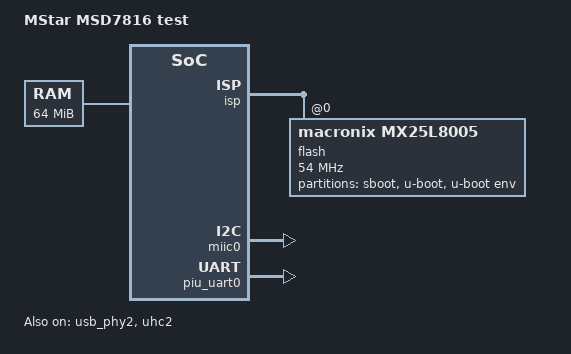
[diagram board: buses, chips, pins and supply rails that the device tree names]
// SPDX-License-Identifier: GPL-2.0
/dts-v1/;

#include "kronus-msd7816.dtsi"

/ {
	compatible = "mstar,msd7816", "mstar,kronus";
	model = "MStar MSD7816 test";

	aliases {
		serial0 = &piu_uart0;
	};

	chosen {
		bootargs = "console=ttyS0,115200 root=/dev/sda2 rootwait clk_ignore_unused rw fbcon=font:TER16x32";
	};

	memory@0 {
		device_type = "memory";
		reg = <0x0 0x4000000>;
	};

	reserved-memory {
		#address-cells = <1>;
		#size-cells = <1>;
		ranges;

		/* two 1920x1080 RGB565 buffers for mstar-gopfb (2 x 0x3f4800) */
		fb_memory: fb-memory@2100000 {
			reg = <0x2100000 0x900000>;
		};

		/* ve framebuffer */
		ve-memory@3200000 {
			reg = <0x3200000 0x1a0000>;
		};

		/* reserve this for our experiments */
		tsukasa@3c00000 {
			reg = <0x3c00000 0x400000>;
		};
	};
};


&isp {
	#address-cells = <1>;
	#size-cells = <0>;
	status = "okay";

	flash@0 {
		compatible = "macronix,mx25l8005", "jedec,spi-nor";
		reg = <0>;
		spi-max-frequency = <54000000>; /* something like that */
		m25p,fast-read;

		partitions {
			#address-cells = <1>;
			#size-cells = <1>;
			compatible = "fixed-partitions";

			sboot@0 {
				label = "sboot";
				reg = <0x0 0x10000>;
			};

			u-boot@10000 {
				label = "u-boot";
				reg = <0x10000 0xd0000>;
			};

			u-boot-env@e0000 {
				label = "u-boot env";
				reg = <0xe0000 0x20000>;
			};
		};
	};
};

/*
 * Port 0, pad mode 1 (chiptop 0x1E12 = 1, as set by MBoot's tuner_init).
 * The only device answering on this bus is the MxL5007T tuner at 0x60.
 */
&miic0 {
	#address-cells = <1>;
	#size-cells = <0>;
	mstar,chiptop = <&chiptop>;
	mstar,port = <0>;
	mstar,pad-mode = <1>;
	status = "okay";
};

&riu {
	/*
	 * Front panel: FD650-style key/display controller bit-banged on PM SAR
	 * pins 1 (DIO) and 2 (CLK). reg covers the SAR pin mode/GPIO registers
	 * 0x1422-0x1425 (PM bank 0x1400 + 0x20 words).
	 */
	front-panel@2840 {
		compatible = "mstar,msd7816-fd650-panel";
		reg = <0x2840 0x10>;
	};
};

&usb_phy2 {
	status = "okay";
};

&uhc2 {
	status = "okay";
};

&piu_uart0 {
	status = "okay";
};

/*
 * Linux framebuffer on GOP3, double buffered (mstar-gopfb). Buffer 0 is the
 * one MBoot/logofix leave on screen at 0x2100000.
 */
&riu {
	gop3-fb@203e00 {
		compatible = "mstar,msd7816-gop3-fb";
		reg = <0x203e00 0x200>,		/* GOP regs 0x1F00-0x1FFF */
		      <0x202400 0x200>;		/* MIU0 regs 0x1200-0x12FF (arbitration) */
		interrupts-extended = <&intc_irq 20 IRQ_TYPE_LEVEL_HIGH>;	/* GOP vsync */
		memory-region = <&fb_memory>;
		width = <1920>;
		height = <1080>;
	};
};
